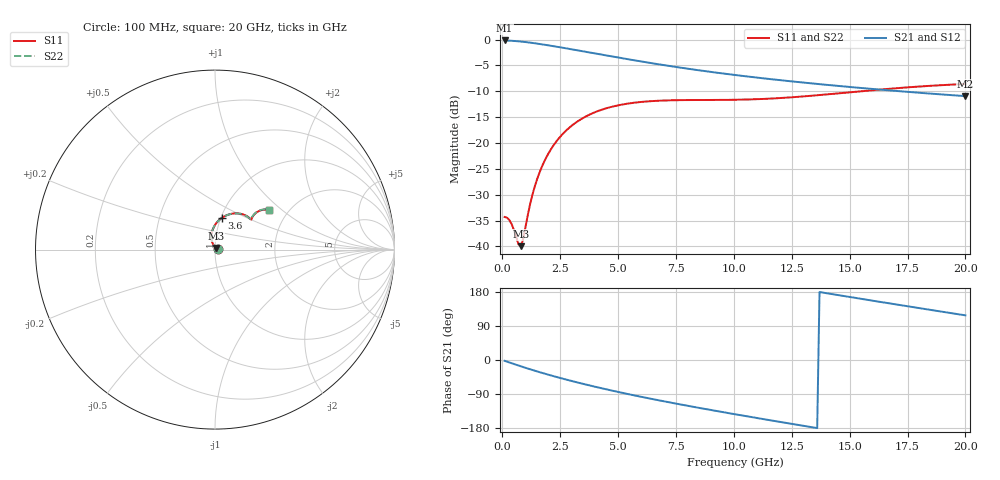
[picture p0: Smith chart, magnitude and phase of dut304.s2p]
! Touchstone file exported from HFSS 2024.1.0
!  File:  C:/UserFiles/LocalFiles/RDL_TSV_Batchsim/temp_RDL_TSV_304_1779625854.aedt
!  Generated:  08:46:26 PM May 24, 2026
!  Design:  RDL_TSV
!  Project:  temp_RDL_TSV_304_1779625854
!  Setup:  Setup1
!  Solution:  Sweep
! Variables:
!  dtsv = 13.69um
!  hbump = 3um
!  htsv = 80.86um
!  ldown = 554.37um
!  lrdl = 400.36um
!  p = 40
!  p1 = 44.53um
!  rhole = 10um
!  subl = 3264.55um
!  t = 450um
!  tdown = 4.22um
!  trdl = 4.33um
!  viad = 10um
!  wdown = 18.98um
!  wrdl = 10.88um
!  xbump = 18um
# GHz S MA R 50.000000
! Terminal data exported
! Port[1] = TM1_1_T1
! Port[2] = TM1_4_T1
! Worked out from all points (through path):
!   200 points, 100 MHz to 20 GHz, reference 50 ohm
!   highest |S21| = -0.17 dB at 100 MHz (marker M1); lowest = -10.9 dB at 20 GHz (marker M2)
!   group delay of S21, straight-line fit = 31.8 ps
!   lowest |S11| = -39.9 dB at 800 MHz (marker M3), VSWR 1.02, Z = 50.5 + j0.865 ohm
!   |S11| at or under -10 dB: start of sweep to 15.48 GHz
!   |S22| runs from -39.9 to -8.6 dB; largest |S21 - S12| = 1.2e-14
!   S11 on the Smith chart (normalised r, x): 100 MHz: 1.04, +0.00; 3.6 GHz: 1.01, +0.37; 20 GHz: 1.60, +0.82
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0.1  0.01929 2.3  0.9801 -2.2  0.9801 -2.2  0.01929 2.3
! Gamma 0 0 0 0
! Port Impedance 50 0 50 0
0.3  0.01807 5.0  0.9761 -6.4  0.9761 -6.4  0.01807 5.0
0.4  0.01651 7.2  0.9732 -8.5  0.9732 -8.5  0.01652 7.2
0.7  0.0105 35.7  0.9616 -14.6  0.9616 -14.6  0.01051 35.6
0.8  0.01007 58.2  0.9568 -16.6  0.9568 -16.6  0.01008 58.1
0.9  0.01176 80.5  0.9516 -18.6  0.9516 -18.6  0.01177 80.4
1.1  0.02005 103.7  0.9402 -22.5  0.9402 -22.5  0.02004 103.6
1.3  0.03153 110.1  0.9276 -26.4  0.9276 -26.4  0.0315 110.0
1.5  0.04453 110.6  0.9142 -30.1  0.9142 -30.1  0.04448 110.5
1.8  0.06545 107.5  0.893 -35.5  0.893 -35.5  0.06538 107.4
2.1  0.08693 102.8  0.871 -40.7  0.871 -40.7  0.08683 102.7
2.5  0.115 95.9  0.8414 -47.5  0.8414 -47.5  0.1148 95.8
3.5  0.1752 79.5  0.769 -63.1  0.769 -63.1  0.1749 79.4
3.6  0.1802 78.0  0.762 -64.6  0.762 -64.6  0.1799 78.0
5.2  0.2359 58.9  0.6587 -86.9  0.6587 -86.9  0.2354 58.9
6.8  0.2566 47.2  0.5743 -106.9  0.5743 -106.9  0.2558 47.2
8.4  0.2605 41.3  0.5079 -125.3  0.5079 -125.3  0.2595 41.3
10.1  0.2619 39.6  0.4529 -143.7  0.4529 -143.7  0.261 39.8
11.7  0.2696 40.4  0.4118 -160.4  0.4118 -160.4  0.2689 40.7
13.4  0.2869 41.6  0.3762 -177.7  0.3762 -177.7  0.2865 41.9
16.7  0.3342 40.8  0.3228 149.6  0.3228 149.6  0.3345 41.0
20  0.3721 36.4  0.2839 117.8  0.2839 117.8  0.373 36.6
